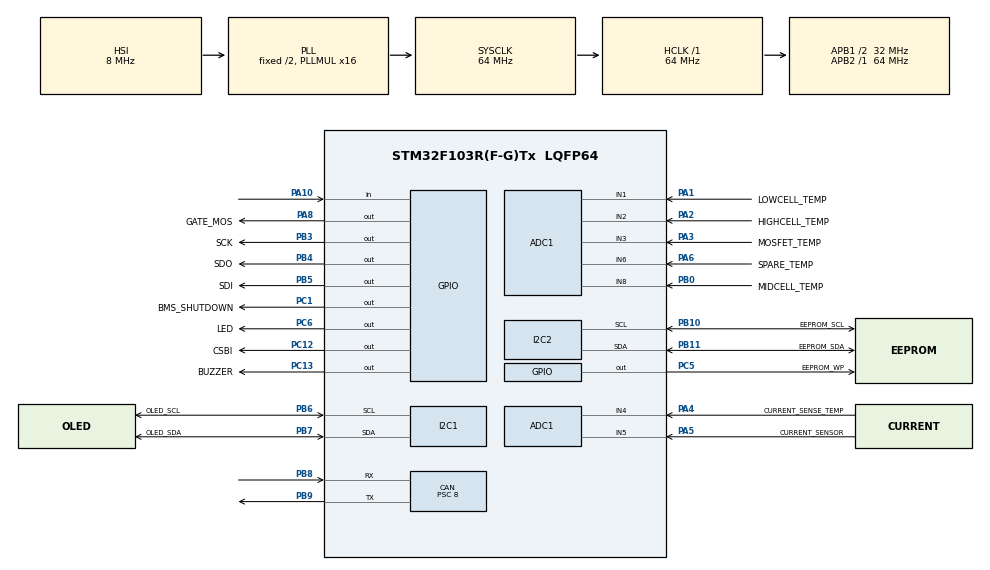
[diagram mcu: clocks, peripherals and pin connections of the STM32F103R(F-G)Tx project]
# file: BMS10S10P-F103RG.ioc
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ADC1.Channel-0\#ChannelRegularConversion=ADC_CHANNEL_1
ADC1.Channel-1\#ChannelRegularConversion=ADC_CHANNEL_2
ADC1.Channel-2\#ChannelRegularConversion=ADC_CHANNEL_3
ADC1.Channel-3\#ChannelRegularConversion=ADC_CHANNEL_4
ADC1.Channel-4\#ChannelRegularConversion=ADC_CHANNEL_5
ADC1.Channel-5\#ChannelRegularConversion=ADC_CHANNEL_6
ADC1.Channel-6\#ChannelRegularConversion=ADC_CHANNEL_8
ADC1.ContinuousConvMode=ENABLE
ADC1.NbrOfConversion=7
ADC1.NbrOfConversionFlag=1
ADC1.Rank-0\#ChannelRegularConversion=1
ADC1.Rank-1\#ChannelRegularConversion=2
ADC1.Rank-2\#ChannelRegularConversion=3
ADC1.Rank-3\#ChannelRegularConversion=4
ADC1.Rank-4\#ChannelRegularConversion=5
ADC1.Rank-5\#ChannelRegularConversion=6
ADC1.Rank-6\#ChannelRegularConversion=7
ADC1.SamplingTime-0\#ChannelRegularConversion=ADC_SAMPLETIME_239CYCLES_5
ADC1.SamplingTime-1\#ChannelRegularConversion=ADC_SAMPLETIME_239CYCLES_5
ADC1.SamplingTime-2\#ChannelRegularConversion=ADC_SAMPLETIME_239CYCLES_5
ADC1.SamplingTime-3\#ChannelRegularConversion=ADC_SAMPLETIME_239CYCLES_5
ADC1.SamplingTime-4\#ChannelRegularConversion=ADC_SAMPLETIME_239CYCLES_5
ADC1.SamplingTime-5\#ChannelRegularConversion=ADC_SAMPLETIME_239CYCLES_5
ADC1.SamplingTime-6\#ChannelRegularConversion=ADC_SAMPLETIME_239CYCLES_5
ADC1.master=1
CAN.BS1=CAN_BS1_13TQ
CAN.BS2=CAN_BS2_2TQ
CAN.CalculateBaudRate=250000
CAN.CalculateTimeBit=4000
CAN.CalculateTimeQuantum=250.0
CAN.Prescaler=8
Dma.ADC1.0.Direction=DMA_PERIPH_TO_MEMORY
Dma.ADC1.0.Instance=DMA1_Channel1
Dma.ADC1.0.MemDataAlignment=DMA_MDATAALIGN_HALFWORD
Dma.ADC1.0.MemInc=DMA_MINC_ENABLE
Dma.ADC1.0.Mode=DMA_CIRCULAR
Dma.ADC1.0.PeriphDataAlignment=DMA_PDATAALIGN_HALFWORD
Dma.ADC1.0.PeriphInc=DMA_PINC_DISABLE
Dma.ADC1.0.Priority=DMA_PRIORITY_LOW
Dma.Request0=ADC1
I2C1.I2C_Mode=I2C_Fast
IWDG.Prescaler=IWDG_PRESCALER_256
Mcu.Family=STM32F1
Mcu.Name=STM32F103R(F-G)Tx
Mcu.Package=LQFP64
NVIC.DMA1_Channel1_IRQn=true\:0\:0\:false\:false\:true\:false\:true
NVIC.PriorityGroup=NVIC_PRIORITYGROUP_4
NVIC.TIM2_IRQn=true\:0\:0\:false\:false\:true\:true\:true
NVIC.TIM3_IRQn=true\:0\:0\:false\:false\:true\:true\:true
NVIC.USB_LP_CAN1_RX0_IRQn=true\:0\:0\:false\:false\:true\:true\:true
PA1.GPIO_Label=LOWCELL_TEMP
PA1.Signal=ADCx_IN1
PA10.Signal=GPIO_Input
PA13.Mode=Serial_Wire
PA13.Signal=SYS_JTMS-SWDIO
PA14.Mode=Serial_Wire
PA14.Signal=SYS_JTCK-SWCLK
PA2.GPIO_Label=HIGHCELL_TEMP
PA2.Signal=ADCx_IN2
PA3.GPIO_Label=MOSFET_TEMP
PA3.Signal=ADCx_IN3
PA4.GPIO_Label=CURRENT_SENSE_TEMP
PA4.Signal=ADCx_IN4
PA5.GPIO_Label=CURRENT_SENSOR
PA5.Signal=ADCx_IN5
PA6.GPIO_Label=SPARE_TEMP
PA6.Signal=ADCx_IN6
PA8.GPIO_Label=GATE_MOS
PA8.GPIO_PuPd=GPIO_PULLDOWN
PA8.Signal=GPIO_Output
PB0.GPIO_Label=MIDCELL_TEMP
PB0.Signal=ADCx_IN8
PB10.GPIO_Label=EEPROM_SCL
PB10.Mode=I2C
PB10.Signal=I2C2_SCL
PB11.GPIO_Label=EEPROM_SDA
PB11.Mode=I2C
PB11.Signal=I2C2_SDA
PB3.GPIO_Label=SCK
PB3.Signal=GPIO_Output
PB4.GPIO_Label=SDO
PB4.Signal=GPIO_Output
PB5.GPIO_Label=SDI
PB5.Signal=GPIO_Output
PB6.GPIO_Label=OLED_SCL
PB6.Mode=I2C
PB6.Signal=I2C1_SCL
PB7.GPIO_Label=OLED_SDA
PB7.Mode=I2C
PB7.Signal=I2C1_SDA
PB8.Mode=CAN_Activate
PB8.Signal=CAN_RX
PB9.Mode=CAN_Activate
PB9.Signal=CAN_TX
PC1.GPIO_Label=BMS_SHUTDOWN
PC1.GPIO_PuPd=GPIO_PULLDOWN
PC1.Signal=GPIO_Output
PC12.GPIO_Label=CSBI
PC12.Signal=GPIO_Output
PC13-TAMPER-RTC.GPIO_Label=BUZZER
PC13-TAMPER-RTC.GPIO_PuPd=GPIO_PULLDOWN
PC13-TAMPER-RTC.Signal=GPIO_Output
PC5.GPIO_Label=EEPROM_WP
PC5.Signal=GPIO_Output
PC6.GPIO_Label=LED
PC6.Signal=GPIO_Output
ProjectManager.HeapSize=0x200
ProjectManager.StackSize=0x400
ProjectManager.TargetToolchain=STM32CubeIDE
RCC.ADCPresc=RCC_ADCPCLK2_DIV6
RCC.AHBFreq_Value=64000000
RCC.APB1CLKDivider=RCC_HCLK_DIV2
RCC.APB1Freq_Value=32000000
RCC.APB1TimFreq_Value=64000000
RCC.APB2Freq_Value=64000000
RCC.APB2TimFreq_Value=64000000
RCC.HCLKFreq_Value=64000000
RCC.PLLMUL=RCC_PLL_MUL16
RCC.SYSCLKFreq_VALUE=64000000
RCC.SYSCLKSource=RCC_SYSCLKSOURCE_PLLCLK
RCC.USBFreq_Value=64000000
SH.ADCx_IN1.0=ADC1_IN1,IN1
SH.ADCx_IN2.0=ADC1_IN2,IN2
SH.ADCx_IN3.0=ADC1_IN3,IN3
SH.ADCx_IN4.0=ADC1_IN4,IN4
SH.ADCx_IN5.0=ADC1_IN5,IN5
SH.ADCx_IN6.0=ADC1_IN6,IN6
SH.ADCx_IN8.0=ADC1_IN8,IN8
TIM2.Period=999
TIM2.Prescaler=639
TIM3.Period=333
TIM3.Prescaler=6399
VP_IWDG_VS_IWDG.Mode=IWDG_Activate
VP_TIM2_VS_ClockSourceINT.Mode=Internal
VP_TIM3_VS_ClockSourceINT.Mode=Internal
board=custom

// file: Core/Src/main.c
/* USER CODE BEGIN Header */
/**
  ******************************************************************************
  * @file           : main.c
  * @brief          : Main program body
  ******************************************************************************
  * @attention
  *
  * Copyright (c) 2022 STMicroelectronics.
  * All rights reserved.
  *
  * This software is licensed under terms that can be found in the LICENSE file
  * in the root directory of this software component.
  * If no LICENSE file comes with this software, it is provided AS-IS.
  *
  ******************************************************************************
  */
/* USER CODE END Header */
#include "main.h"
#include "adc.h"
#include "can.h"
#include "dma.h"
#include "i2c.h"
#include "iwdg.h"
#include "tim.h"
#include "gpio.h"

/* USER CODE BEGIN Includes */
//#include "ssd1306.h"
#include "stdio.h"
#include <stdlib.h>
#include <string.h>
#include <stdbool.h>
#include "LTC68042.h"
#include "EEPROM.h"
#include "Battery_Charge_Discharge.h"
#include "ctype.h"
/* USER CODE END Includes */

/* USER CODE BEGIN PV */
int test=0;
char 	buff_lcd[20];	//variable buff lcd-oled
uint8_t	BATT_State;
uint8_t BATT_Start_Up = 0;
char	lower_UNIQUE_Code[5],
		UPPER_UNIQUE_Code[5];

int Sleep_tick=10000,
	Shutdown_tick=15000;
float pack_voltage, ansupply_LTC6804;
float CellVoltage[16];
const float Cell_UnderVoltage_Threshold = 2.7;
const float Cell_OverVoltage_Threshold = 4.2;
/* USER CODE END PV */

void SystemClock_Config(void);

int main(void)
{

  /* MCU Configuration--------------------------------------------------------*/

  /* Reset of all peripherals, Initializes the Flash interface and the Systick. */
  HAL_Init();

  /* Configure the system clock */
  SystemClock_Config();

  /* Initialize all configured peripherals */
  MX_GPIO_Init();
  MX_DMA_Init();
  MX_ADC1_Init();
  MX_CAN_Init();
  MX_I2C1_Init();
  MX_TIM2_Init();
  MX_TIM3_Init();
  MX_I2C2_Init();
  MX_IWDG_Init();
  /* USER CODE BEGIN 2 */

  BMS_Init();

  /* USER CODE END 2 */

  /* Infinite loop */
  while (1)
  {

    /* USER CODE BEGIN 3 */
	  //Read voltage per-cell and total voltage
	  ltc6804_CS_RESET(ltc6804_CS_PIN);
	  read_voltage_percell();
	  read_sumvoltage(&pack_voltage, &ansupply_LTC6804);

	  read_aux_adc();

	  //Onder & Over voltage per-cell protection
	  isCell_UnderVoltage(cellvoltage_float);
	  isCell_OverVoltage(cellvoltage_float);

	  /*
	  for(uint8_t ij=0; ij<15; ij++){
		  pack_voltage += cellvoltage_float[ij];
	  }
	  sum_voltage = pack_voltage;
	  pack_voltage = 0;
	  */

	  ltc6804_CS_SET(ltc6804_CS_PIN);

	  //comparing cell voltage to get imbalance cell
	  unbalance_cell = get_balance_status(cellvoltage_float);

	  // Balancing Process
	  if(BMS_mode == 2 && IBATT < -0.1 && (VBATT > VBATT_BALANCE_START)) { //arus charging 0.1 tidak perlu di balancing
		  LTC681x_balance_cell(balance_status);
	  }
	  else {
		  balance_status = 0;
		  LTC681x_balance_cell(0);
	  }

/*	  //Force Balancing
	  if (BMS_mode == 2)
		  LTC681x_balance_cell(1023);
	  else
		  LTC681x_balance_cell(0);
*/
	  LED_Toggle;
	  HAL_Delay(1);

	  BMS_ScreenMode_RUN();
	  HAL_IWDG_Refresh(&hiwdg);
  }
  /* USER CODE END 3 */
}

void SystemClock_Config(void)
{
  RCC_OscInitTypeDef RCC_OscInitStruct = {0};
  RCC_ClkInitTypeDef RCC_ClkInitStruct = {0};
  RCC_PeriphCLKInitTypeDef PeriphClkInit = {0};

  /** Initializes the RCC Oscillators according to the specified parameters
  * in the RCC_OscInitTypeDef structure.
  */
  RCC_OscInitStruct.OscillatorType = RCC_OSCILLATORTYPE_HSI|RCC_OSCILLATORTYPE_LSI;
  RCC_OscInitStruct.HSIState = RCC_HSI_ON;
  RCC_OscInitStruct.HSICalibrationValue = RCC_HSICALIBRATION_DEFAULT;
  RCC_OscInitStruct.LSIState = RCC_LSI_ON;
  RCC_OscInitStruct.PLL.PLLState = RCC_PLL_ON;
  RCC_OscInitStruct.PLL.PLLSource = RCC_PLLSOURCE_HSI_DIV2;
  RCC_OscInitStruct.PLL.PLLMUL = RCC_PLL_MUL16;
  if (HAL_RCC_OscConfig(&RCC_OscInitStruct) != HAL_OK)
  {
    Error_Handler();
  }
  /** Initializes the CPU, AHB and APB buses clocks
  */
  RCC_ClkInitStruct.ClockType = RCC_CLOCKTYPE_HCLK|RCC_CLOCKTYPE_SYSCLK
                              |RCC_CLOCKTYPE_PCLK1|RCC_CLOCKTYPE_PCLK2;
  RCC_ClkInitStruct.SYSCLKSource = RCC_SYSCLKSOURCE_PLLCLK;
  RCC_ClkInitStruct.AHBCLKDivider = RCC_SYSCLK_DIV1;
  RCC_ClkInitStruct.APB1CLKDivider = RCC_HCLK_DIV2;
  RCC_ClkInitStruct.APB2CLKDivider = RCC_HCLK_DIV1;

  if (HAL_RCC_ClockConfig(&RCC_ClkInitStruct, FLASH_LATENCY_2) != HAL_OK)
  {
    Error_Handler();
  }
  PeriphClkInit.PeriphClockSelection = RCC_PERIPHCLK_ADC;
  PeriphClkInit.AdcClockSelection = RCC_ADCPCLK2_DIV6;
  if (HAL_RCCEx_PeriphCLKConfig(&PeriphClkInit) != HAL_OK)
  {
    Error_Handler();
  }
}

/* USER CODE BEGIN 4 */
void BMS_Init(void)
{
	itoa(UNIQUE_Code, lower_UNIQUE_Code, 16);
	int ii=0;
	while(ii<6){
		UPPER_UNIQUE_Code[ii] = toupper(lower_UNIQUE_Code[ii]);
		ii++;
	}

	//beep startup indicator
	StartUp_Buzzer();

#ifdef OLED_FEATURE
	SSD1306_Init();
	HAL_Delay(500);
	SSD1306_Fill(SSD1306_COLOR_BLACK);
	SSD1306_UpdateScreen();

	SSD1306_GotoXY (30,10);
	SSD1306_Puts ("GEN-I BMS", &Font_7x10, 1);
	SSD1306_GotoXY (40, 30);
	SSD1306_Puts ("10S13P", &Font_7x10, 1);
	SSD1306_UpdateScreen(); //display
	SSD1306_Fill (0);
#endif

	ltc6804_GPIO_Config();
	ltc6804_SPIInit();

	set_adc(MD_NORMAL, DCP_DISABLED, CELL_CH_ALL, AUX_CH_ALL); //ADC Setting
	HAL_Delay(10);

	HAL_ADC_Start_DMA(&hadc1, (uint32_t *) &adc_value, 7);
	HAL_TIM_Base_Start_IT(&htim2);
	HAL_TIM_Base_Start_IT(&htim3);

	BATT_State=STATE_STANDBY;
	Batt_Open_Mode();
	BATT_Start_Up = 1;
	flag_start_shutdown = 0;
	HAL_Delay(50);
	EEPROM_isDeviceReady(0xA0);
	BMS_CAN_Config();
	HAL_Delay(100);
}

void BMS_ScreenMode_RUN(void)
{
	if(flag_start_shutdown == 0)
	{
		#ifdef OLED_FEATURE
		SSD1306_Fill(SSD1306_COLOR_BLACK);
		sprintf(buff_lcd,"RUNNING");
		SSD1306_GotoXY(40,18);
		SSD1306_Puts(buff_lcd, &Font_7x10, SSD1306_COLOR_WHITE);

		sprintf(buff_lcd,"SLEEP_STATE");
		SSD1306_GotoXY(25,38);
		SSD1306_Puts(buff_lcd, &Font_7x10, SSD1306_COLOR_WHITE);
		SSD1306_UpdateScreen();
		#endif

		Batt_Open_Mode();
		Reset_FlagProtection();
		OFFSET_SENSOR_ARUS=IBATT_for_offset_cal;

		if(last_flag_start_shutdown==1) Shutdown_time_last = HAL_GetTick();

		// Automatic sleep after 30s without receive CAN
		Shutdown_time=HAL_GetTick();
		if(Shutdown_time-Shutdown_time_last>Shutdown_tick)
		{
			ShutDown_Buzzer();
			HAL_GPIO_WritePin(BMS_SHUTDOWN_GPIO_Port, BMS_SHUTDOWN_Pin, 1);
		}

		last_flag_start_shutdown = 0;
	}
	else {
		#ifdef OLED_FEATURE
		SSD1306_Fill(SSD1306_COLOR_BLACK);
		if(BATT_State==STATE_CHARGE)
			sprintf(buff_lcd,"RUN (C) - %05s", UPPER_UNIQUE_Code);

		else if(BATT_State==STATE_DISCHARGE)
			sprintf(buff_lcd,"RUN (D) - %05s", UPPER_UNIQUE_Code);

		else if(BATT_State==STATE_FULL_CHARGE_DISCHARGE)
			sprintf(buff_lcd,"RUN (C/D) - %05s", UPPER_UNIQUE_Code);

		else if(BATT_State==STATE_STANDBY)
			sprintf(buff_lcd,"RUN (Open) - %05s", UPPER_UNIQUE_Code);

		SSD1306_GotoXY(0,0);
		SSD1306_Puts(buff_lcd, &Font_7x10, SSD1306_COLOR_WHITE);

		sprintf(buff_lcd,"V=%6.2f I=%6.2f",VBATT, IBATT);
		SSD1306_GotoXY(0,10);
		SSD1306_Puts(buff_lcd, &Font_7x10, SSD1306_COLOR_WHITE);
		sprintf(buff_lcd,"T=%3.0f|%3.0f|%3.0f|%3.0f", Suhu_T1, Suhu_T2, Suhu_T3, Suhu_T4);
		SSD1306_GotoXY(0,20);
		SSD1306_Puts(buff_lcd, &Font_7x10, SSD1306_COLOR_WHITE);
		sprintf(buff_lcd,"C=%5.1f%%--%5.1f%%",Pack_SOC,SOC_manipulasi);
		SSD1306_GotoXY(0,30);
		SSD1306_Puts(buff_lcd, &Font_7x10, SSD1306_COLOR_WHITE);
		sprintf(buff_lcd,"B=%5d|%4.2f|%4.2f",unbalance_cell, persen_imbalance, OFFSET_SENSOR_ARUS);
		SSD1306_GotoXY(0,40);
		SSD1306_Puts(buff_lcd, &Font_7x10, SSD1306_COLOR_WHITE);
		sprintf(buff_lcd,"%d-%d--%4.2f| %5.0f",fault_code,last_fault_code,Isc, AH_Total);
		SSD1306_GotoXY(0,50);
		SSD1306_Puts(buff_lcd, &Font_7x10, SSD1306_COLOR_WHITE);

		SSD1306_UpdateScreen();
		#endif

		if(BMS_mode==0) Batt_Open_Mode();
		else if(BMS_mode==1) Batt_Discharge_Mode();
		else if(BMS_mode==2) Batt_Charge_Mode();
		else if(BMS_mode==3) Batt_Full_CD_Mode();

	//  Automatically sleep after 30s without receive CAN
		Sleep_time=HAL_GetTick();
		if(Sleep_time-Active_time_last>Sleep_tick)
		{
			BMS_mode=0;
			flag_start_shutdown=0;
		}
		last_flag_start_shutdown = 1;
	}
	HAL_Delay(1);
}

void isCell_UnderVoltage(float Cell_Voltage_10data[10]){
	for(uint8_t kl=0; kl<10; kl++){
		if (Cell_Voltage_10data[kl] < Cell_UnderVoltage_Threshold) {
			fault_code = 15;
			Batt_Open_Mode();
			flag_trip_cellundervoltage = ON;
			Cell_UnderVoltage = YES;
		}
		else Cell_UnderVoltage = NO;
	}
}

void isCell_OverVoltage(float Cell_Voltage_10data[10]){
	for(uint8_t kl=0; kl<10; kl++){
		if (Cell_Voltage_10data[kl] > Cell_OverVoltage_Threshold) {
			fault_code = 16;
			Batt_Open_Mode();
			flag_trip_cellovervoltage = ON;
			Cell_OverVoltage = YES;
		}
		else Cell_OverVoltage = NO;
	}
}
void Reset_FlagProtection(void){
	flag_trip_overtemperature=OFF;
	flag_trip_undertemperature=OFF;
	flag_trip_SOCOverDischarge=OFF;
	flag_trip_SOCOverCharge=OFF;			//di tiada kan..!
	flag_trip_undervoltage=OFF;
	flag_trip_overvoltage=OFF;
	flag_trip_overcurrentdischarge=OFF;
	flag_trip_overcurrentcharge=OFF;
	flag_trip_shortcircuit=OFF;
	flag_trip_systemfailure=OFF;
	flag_trip_unbalance=OFF;
	flag_get_UNIQUECODE=OFF;
	flag_trip_cellovervoltage = OFF;
	flag_trip_cellundervoltage = OFF;
}
void StartUp_Buzzer(void)
{
	BUZZ_Write(1); HAL_Delay(500);
	BUZZ_Toggle; HAL_Delay(500);
	BUZZ_Toggle; HAL_Delay(100);
	BUZZ_Toggle; HAL_Delay(100);
	BUZZ_Toggle; HAL_Delay(100);
	BUZZ_Write(0); HAL_Delay(100);
}

void ShutDown_Buzzer(void)
{
	BUZZ_Write(1); HAL_Delay(100);
	BUZZ_Toggle; HAL_Delay(100);
	BUZZ_Toggle; HAL_Delay(100);
	BUZZ_Toggle; HAL_Delay(100);
	BUZZ_Toggle; HAL_Delay(750);
	BUZZ_Write(0); HAL_Delay(100);
}
/* USER CODE END 4 */

void Error_Handler(void)
{
  __disable_irq();
  while (1)
  {
  }
}
